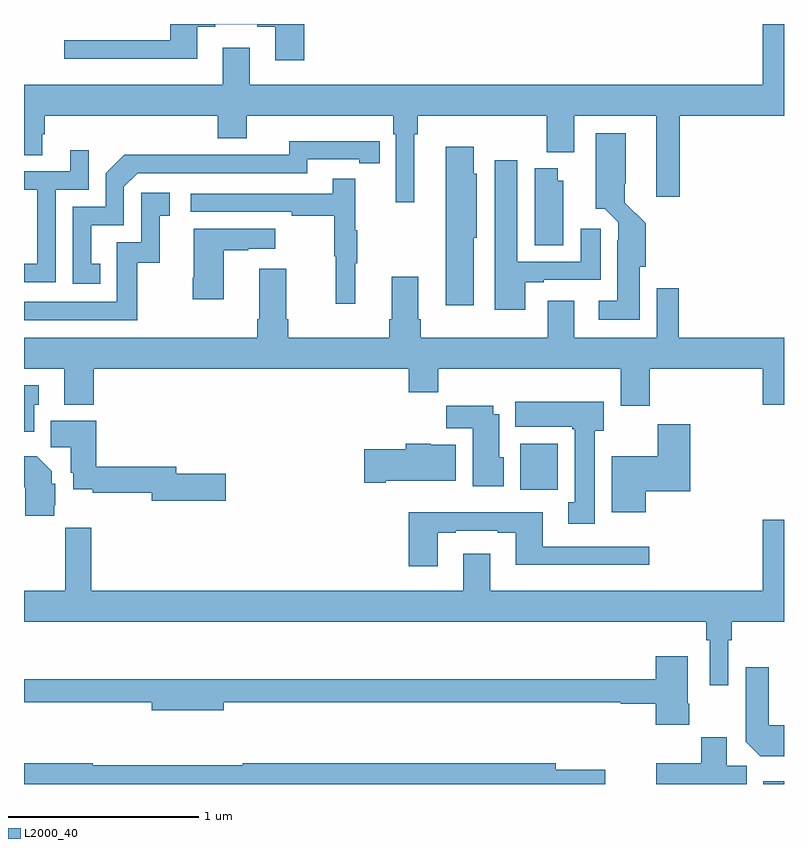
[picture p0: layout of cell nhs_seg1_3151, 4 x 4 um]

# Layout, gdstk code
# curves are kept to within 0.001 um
import gdstk
lib = gdstk.Library(unit=1e-6, precision=1e-09)
def R(c, l, rs):  # rectangles x0, y0, x1, y1
    for r in rs: c.add(gdstk.rectangle(r[:2], r[2:], *l))
def P(c, l, *ps):  # polygons
    for p in ps: c.add(gdstk.Polygon(p, *l))
L2000_40 = (2000, 40)

nhs_seg1_3151 = lib.new_cell('nhs_seg1_3151')
R(nhs_seg1_3151, L2000_40, [(284.891,564.199,285,564.214), (283.613,565.748,283.81,565.99)])
P(nhs_seg1_3151, L2000_40, [(282.476,568.199),(281.771,568.199),(281.771,568.113),(281.211,568.113),(281.211,568.016),(281.911,568.016),(281.911,568.185),(282.007,568.185),(282.007,568.197),(282.227,568.197),(282.227,568.185),(282.323,568.185),(282.323,568.008),(282.476,568.008)],
  [(282.187,568.075),(282.047,568.075),(282.047,567.88),(281,567.88),(281,567.508),(281.095,567.508),(281.095,567.618),(281.108,567.618),(281.108,567.716),(282.02,567.716),(282.02,567.599),(282.172,567.599),(282.172,567.716),(282.944,567.716),(282.944,567.62),(282.957,567.62),(282.957,567.261),(283.054,567.261),(283.054,567.62),(283.073,567.62),(283.073,567.716),(283.75,567.716),(283.75,567.524),(283.897,567.524),(283.897,567.716),(284.327,567.716),(284.327,567.291),(284.45,567.291),(284.45,567.716),(285,567.716),(285,568.199),(284.888,568.199),(284.888,567.88),(282.187,567.88)],
  [(284.242,566.922),(284.273,566.922),(284.273,567.15),(284.163,567.259),(284.163,567.358),(284.167,567.358),(284.167,567.625),(284.009,567.625),(284.009,567.226),(284.057,567.226),(284.127,567.156),(284.127,567.062),(284.123,567.062),(284.123,566.743),(284.025,566.743),(284.025,566.642),(284.242,566.642)],
  [(281.402,566.937),(281.353,566.937),(281.353,567.141),(281.526,567.141),(281.526,567.342),(281.598,567.414),(282.492,567.414),(282.492,567.486),(282.764,567.486),(282.764,567.466),(282.872,567.466),(282.872,567.582),(282.396,567.583),(282.396,567.51),(281.936,567.51),(281.936,567.512),(281.528,567.512),(281.43,567.414),(281.43,567.237),(281.256,567.237),(281.256,566.832),(281.402,566.832)],
  [(283.366,567.075),(283.384,567.075),(283.384,567.411),(283.366,567.411),(283.366,567.553),(283.22,567.553),(283.22,566.718),(283.366,566.718)],
  [(281.166,567.327),(281.34,567.327),(281.34,567.535),(281.243,567.535),(281.243,567.423),(281,567.423),(281,567.327),(281.07,567.327),(281.07,566.938),(281,566.938),(281,566.841),(281.166,566.841)],
  [(283.639,566.841),(283.735,566.841),(283.735,566.853),(284.035,566.853),(284.035,567.121),(283.931,567.121),(283.931,566.949),(283.597,566.949),(283.597,567.481),(283.478,567.481),(283.478,566.694),(283.639,566.694)],
  [(283.837,567.375),(283.81,567.375),(283.81,567.439),(283.688,567.439),(283.688,567.034),(283.837,567.034)],
  [(282.743,566.939),(282.754,566.939),(282.754,567.113),(282.743,567.113),(282.743,567.385),(282.625,567.385),(282.625,567.306),(281.877,567.306),(281.877,567.21),(282.409,567.21),(282.409,567.19),(282.633,567.19),(282.633,566.976),(282.64,566.976),(282.64,566.727),(282.743,566.727)],
  [(281.596,566.943),(281.714,566.943),(281.714,567.189),(281.767,567.189),(281.767,567.31),(281.616,567.31),(281.616,567.051),(281.487,567.051),(281.487,566.736),(281,566.736),(281,566.64),(281.596,566.64)],
  [(282.052,567.007),(282.179,567.007),(282.179,567.017),(282.322,567.017),(282.322,567.121),(281.894,567.121),(281.894,566.863),(281.887,566.863),(281.887,566.751),(282.052,566.751)],
  [(284.294,566.384),(284.888,566.384),(284.888,566.196),(285,566.196),(285,566.548),(284.447,566.548),(284.447,566.809),(284.331,566.809),(284.331,566.548),(283.897,566.548),(283.897,566.743),(283.757,566.743),(283.757,566.548),(283.088,566.548),(283.088,566.644),(283.075,566.644),(283.075,566.869),(282.935,566.869),(282.935,566.644),(282.923,566.644),(282.923,566.548),(282.392,566.548),(282.392,566.644),(282.379,566.644),(282.379,566.911),(282.239,566.911),(282.239,566.644),(282.227,566.644),(282.227,566.548),(281,566.548),(281,566.384),(281.213,566.384),(281.213,566.195),(281.366,566.195),(281.366,566.384),(283.025,566.384),(283.025,566.26),(283.181,566.26),(283.181,566.384),(284.141,566.384),(284.141,566.19),(284.294,566.19)],
  [(281.053,566.196),(281.077,566.196),(281.077,566.299),(281,566.299),(281,566.054),(281.053,566.054)],
  [(284.005,566.058),(284.05,566.058),(284.05,566.212),(283.586,566.212),(283.586,566.078),(283.885,566.078),(283.885,566.065),(283.898,566.065),(283.898,565.682),(283.865,565.682),(283.865,565.569),(284.005,565.569)],
  [(283.525,565.92),(283.501,565.92),(283.501,566.146),(283.471,566.146),(283.471,566.191),(283.222,566.191),(283.222,566.072),(283.361,566.072),(283.361,565.766),(283.525,565.766)],
  [(282.061,565.832),(281.8,565.832),(281.8,565.868),(281.381,565.868),(281.381,566.11),(281.141,566.11),(281.141,565.972),(281.246,565.972),(281.246,565.836),(281.258,565.836),(281.258,565.751),(281.362,565.751),(281.362,565.732),(281.672,565.732),(281.672,565.69),(282.061,565.69)],
  [(284.272,565.739),(284.507,565.739),(284.507,566.092),(284.336,566.092),(284.336,565.924),(284.093,565.924),(284.093,565.628),(284.272,565.628)],
  [(282.904,565.796),(283.273,565.796),(283.273,565.984),(283.14,565.984),(283.14,565.99),(283.01,565.99),(283.01,565.962),(282.792,565.962),(282.792,565.784),(282.904,565.784)],
  [(281.159,565.665),(281.164,565.665),(281.164,565.779),(281.146,565.779),(281.146,565.846),(281.068,565.924),(281,565.924),(281,565.76),(281.006,565.76),(281.006,565.61),(281.159,565.61)],
  [(283.177,565.521),(283.273,565.521),(283.273,565.533),(283.493,565.533),(283.493,565.521),(283.589,565.521),(283.589,565.352),(284.29,565.352),(284.29,565.449),(283.729,565.449),(283.729,565.63),(283.025,565.63),(283.025,565.344),(283.177,565.344)],
  [(284.706,564.956),(284.726,564.956),(284.726,565.052),(285,565.052),(285,565.591),(284.888,565.591),(284.888,565.216),(283.453,565.216),(283.453,565.411),(283.313,565.411),(283.313,565.216),(281.354,565.216),(281.354,565.549),(281.218,565.549),(281.218,565.216),(281,565.216),(281,565.052),(284.59,565.052),(284.59,564.956),(284.61,564.956),(284.61,564.72),(284.706,564.72)],
  [(284.502,564.622),(284.494,564.622),(284.494,564.871),(284.324,564.871),(284.324,564.751),(281,564.751),(281,564.63),(281.672,564.63),(281.672,564.587),(282.052,564.587),(282.052,564.63),(284.14,564.63),(284.14,564.622),(284.324,564.622),(284.324,564.51),(284.502,564.51)],
  [(285,564.508),(284.92,564.508),(284.92,564.814),(284.798,564.814),(284.798,564.422),(284.876,564.344),(285,564.344)],
  [(284.803,564.296),(284.698,564.296),(284.698,564.445),(284.564,564.445),(284.564,564.307),(284.328,564.307),(284.328,564.199),(284.803,564.199)],
  [(284.059,564.273),(283.798,564.273),(283.798,564.307),(282.15,564.307),(282.15,564.299),(281.363,564.299),(281.363,564.307),(281,564.307),(281,564.199),(284.059,564.199)])

lib.write_gds('nhs_seg1_3151.gds')
